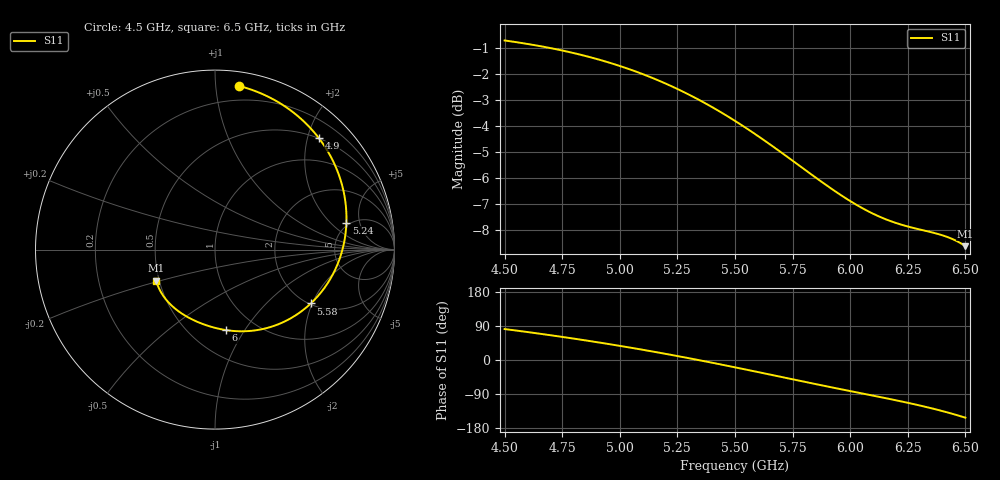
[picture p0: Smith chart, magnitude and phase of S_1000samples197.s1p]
! TOUCHSTONE file generated by CST MICROWAVE STUDIO
! Date and time: Thu Oct 27 08:29:23 2022
! Project name: L.cst
! Parameters = {Di=1.27; Epsilon_r=1.56; InnerDiameter=1.27; Length=2; Lf=10; Lg=60; OuterConductorThickness=0.2921; OuterDiameter=3.6; Wf=3; Wp=41.2; de=1.5; df=6.8; g=0.8; gx=1.16645; gy=2.81485; h=2.34; hf=1.524; px=9.48729; py=12.2528; w=9.7; wx=8.32084; wy=9.43794}
! Header version: 2018
! Port assignment regex: !\s*Touchstone port\s*([0-9]+)\s*=\s*(CST MWS port|CST DS port)\s*([0-9]+|Zmin|Zmax)\s*\(\"(.*)\"\)(\s*mode\s*([0-9]+))?.*
! Touchstone port assignment:
! Touchstone port 1 = CST MWS port 1 ("")
# GHz S DB R 50
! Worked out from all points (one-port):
!   101 points, 4.5 GHz to 6.5 GHz, reference 50 ohm
!   lowest |S11| = -8.6 dB at 6.5 GHz (marker M1), VSWR 2.18, Z = 24 - j9.63 ohm
!   |S11| at or under -10 dB: nowhere
!   S11 on the Smith chart (normalised r, x): 4.5 GHz: 0.10, +1.15; 4.9 GHz: 0.49, +2.20; 5.24 GHz: 4.69, +3.18; 5.58 GHz: 2.03, -1.95; 6 GHz: 0.74, -0.83; 6.5 GHz: 0.48, -0.19
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4.5  -0.71 81.7
4.58  -0.82 75.3
4.64  -0.90 70.4
4.76  -1.11 60.1
4.82  -1.24 54.6
4.9  -1.42 47.1
5  -1.69 37.3
5.06  -1.87 31.1
5.12  -2.07 24.8
5.18  -2.29 18.3
5.24  -2.53 11.6
5.26  -2.61 9.3
5.32  -2.88 2.4
5.38  -3.17 -4.7
5.44  -3.47 -12.0
5.5  -3.80 -19.4
5.58  -4.26 -29.3
5.68  -4.88 -42.0
5.76  -5.39 -52.2
5.82  -5.78 -59.7
5.88  -6.16 -67.3
6  -6.88 -82.0
6.14  -7.52 -99.0
6.26  -7.88 -114.3
6.32  -8.01 -122.6
6.38  -8.14 -131.6
6.44  -8.32 -141.4
6.5  -8.61 -152.3
